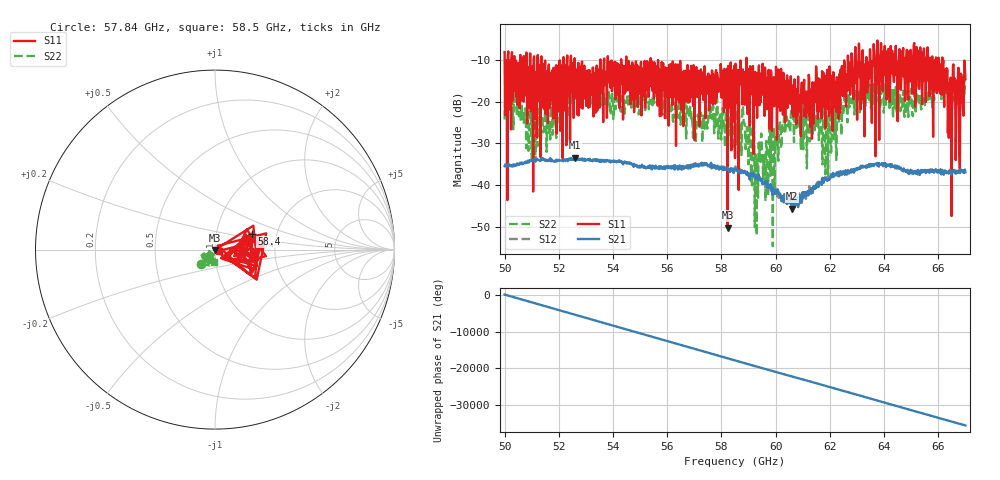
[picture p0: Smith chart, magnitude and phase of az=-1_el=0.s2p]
!Created with skrf (http://scikit-rf.org).
# GHz S RI R 50.0
!freq ReS11 ImS11 ReS21 ImS21 ReS12 ImS12 ReS22 ImS22
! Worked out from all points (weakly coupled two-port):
!   1001 points, 50 GHz to 67 GHz, reference 50 ohm
!   highest |S21| = -33.41 dB at 52.58 GHz (marker M1); lowest = -45.7 dB at 60.61 GHz (marker M2)
!   lowest |S11| = -50.2 dB at 58.23 GHz (marker M3), VSWR 1.01, Z = 49.8 - j0.245 ohm
!   |S11| at or under -10 dB: 52.58 GHz to 53.53 GHz (948.5 MHz wide, 1.79 % of centre); 55.66 GHz to 58.92 GHz (3.262 GHz wide, 5.69 % of centre); 58.93 GHz to 62.53 GHz (3.6 GHz wide, 5.93 % of centre) (the widest 3 of 63)
!   |S22| runs from -54.7 to -13.3 dB; largest |S21 - S12| = 0.0024
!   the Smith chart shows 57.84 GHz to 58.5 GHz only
!   S11 on the Smith chart (normalised r, x): 57.84 GHz: 1.54, -0.16; 58.4 GHz: 1.48, +0.27; 58.5 GHz: 1.04, -0.02
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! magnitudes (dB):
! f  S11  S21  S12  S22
! 50 GHz  -8.0  -35.4  -35.2  -24.2
! 50.15 GHz  -21.8  -35.4  -35.3  -20.6
! 51.07 GHz  -9.7  -34.1  -34.2  -26.2
! 52.58 GHz  -9.5  -33.4  -33.5  -18.7
! 52.84 GHz  -11.8  -33.6  -33.8  -19.8
! 55.68 GHz  -13.2  -35.6  -35.9  -21.0
! 57.84 GHz  -13.1  -35.4  -35.5  -19.1
! 58.23 GHz  -50.2  -35.8  -36.0  -23.3
! 58.4 GHz  -13.1  -36.3  -36.3  -25.7
! 58.5 GHz  -33.5  -36.2  -36.7  -23.5
! 59.11 GHz  -12.9  -37.8  -37.9  -37.4
! 59.32 GHz  -23.8  -38.2  -38.2  -33.7
! 59.45 GHz  -20.1  -39.0  -39.0  -29.3
! 59.66 GHz  -15.4  -39.4  -40.1  -29.4
! 60.61 GHz  -18.5  -45.7  -43.7  -23.6
! 61.34 GHz  -28.9  -41.9  -40.8  -26.8
! 61.88 GHz  -15.6  -38.7  -38.2  -24.3
! 62.55 GHz  -11.3  -36.8  -37.1  -18.5
! 64.18 GHz  -11.7  -35.1  -35.3  -17.5
! 66.1 GHz  -14.3  -36.7  -36.8  -18.4
! 66.44 GHz  -18.9  -36.8  -36.8  -16.3
! 67 GHz  -14.5  -37.0  -36.7  -14.4
